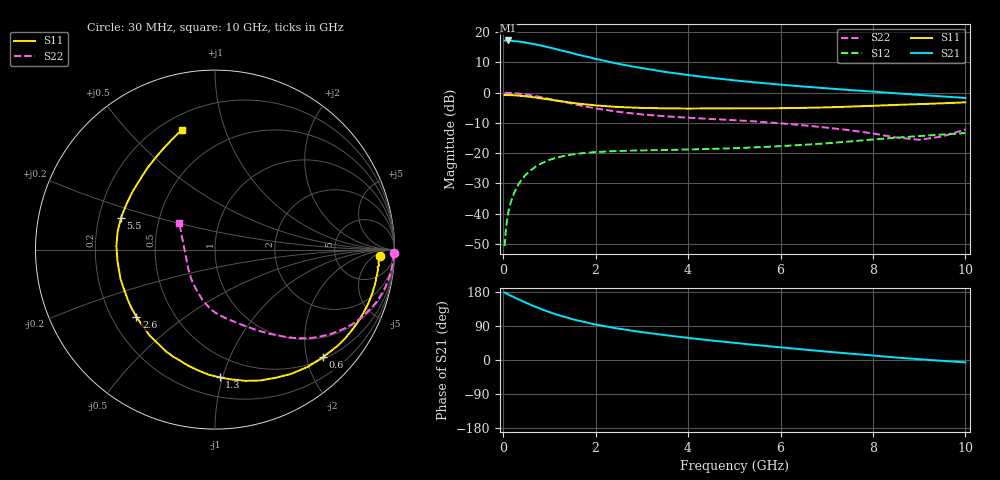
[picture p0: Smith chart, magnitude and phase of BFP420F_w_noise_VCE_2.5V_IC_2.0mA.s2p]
! Infineon Technologies  Discrete & RF Semiconductors
! BFP420F
! VCE =  2.5 V,  IC =  2.0 mA
! Common Emitter S-Parameters:  Sep 2011
# GHz  S  MA  R  50
!  f  S11  S21  S12  S22
! GHz  MAG  ANG  MAG  ANG  MAG  ANG  MAG  ANG
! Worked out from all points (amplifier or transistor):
!   54 points, 30 MHz to 10 GHz, reference 50 ohm
!   highest |S21| = 17.3 dB at 100 MHz (marker M1)
!   |S21| within 3 dB of that: start of sweep to 1.176 GHz
!   unconditionally stable (mu >= 1): 3.221 GHz to end of sweep
!   at 120 MHz: K = 0.03, MSG = 28.1 dB, |S12| = -38.9 dB
!   at 1.3 GHz: K = 0.31, MSG = 17.4 dB, |S12| = -21.0 dB
!   at 10 GHz: K = 1.58, MAG = 1.3 dB, |S12| = -13.4 dB
!   lowest NFmin = 0.81 dB at 450 MHz
!   S11 on the Smith chart (normalised r, x): 30 MHz: 19, -9; 600 MHz: 0.54, -2.32; 1.3 GHz: 0.34, -0.98; 2.6 GHz: 0.30, -0.34; 5.5 GHz: 0.30, +0.15; 10 GHz: 0.28, +0.72
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0.03  0.9189 -2.3  7.291 177.8  0.0029 90.6  0.9954 -1.2
0.05  0.9153 -3.8  7.246 176.1  0.0047 82.2  0.9954 -2.1
0.06  0.9142 -4.6  7.268 176.2  0.0058 90.7  0.9956 -2.5
0.1  0.9138 -7.7  7.311 173.5  0.0093 86.0  0.993 -4.2
0.2  0.9099 -15.5  7.167 167.8  0.0188 81.8  0.9848 -8.4
0.4  0.885 -30.5  6.895 156.1  0.0365 74.1  0.9535 -16.5
0.6  0.8498 -44.8  6.491 145.3  0.0525 66.3  0.9058 -24.0
0.8  0.8124 -58.4  6.064 135.3  0.0662 59.5  0.851 -30.7
0.9  0.7899 -64.7  5.813 130.9  0.0719 56.3  0.8211 -33.7
1.1  0.7507 -76.9  5.372 122.2  0.0819 50.3  0.7619 -39.4
1.3  0.7121 -87.9  4.905 114.8  0.0893 45.5  0.7066 -44.3
1.5  0.6788 -98.2  4.494 107.6  0.0953 41.2  0.6548 -48.6
1.7  0.6491 -107.3  4.114 101.9  0.0995 37.7  0.6079 -52.5
2  0.6162 -119.8  3.616 93.6  0.104 33.4  0.5507 -57.8
2.6  0.5761 -139.4  2.899 80.9  0.1091 28.0  0.4719 -66.4
3.5  0.5517 -162.3  2.213 65.7  0.113 24.5  0.4077 -76.6
4.5  0.5499 177.8  1.762 51.6  0.1177 24.2  0.3677 -85.6
5.5  0.5529 161.2  1.471 39.2  0.1253 25.5  0.3333 -94.0
7  0.5716 137.0  1.181 22.1  0.1456 27.7  0.2644 -109.5
8.5  0.6284 118.0  0.979 6.6  0.1803 25.9  0.1818 -145.4
9  0.6473 113.5  0.92 2.0  0.1919 24.2  0.1665 -169.8
10  0.6926 105.4  0.818 -6.2  0.2149 20.2  0.2467 143.5
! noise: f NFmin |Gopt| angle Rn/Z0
0.45  0.81  0.49  17  0.26
0.9  0.87  0.48  36  0.26
1.9  1.18  0.37  84  0.2
2.4  1.31  0.38  97  0.2
3.5  1.73  0.39  136  0.18
